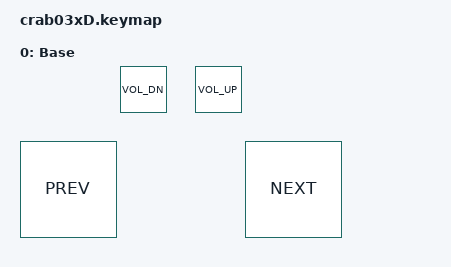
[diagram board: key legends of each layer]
#include <behaviors.dtsi>
#include <dt-bindings/zmk/keys.h>
#include <dt-bindings/zmk/bt.h>
#include <dt-bindings/zmk/behaviors.h>

/ {  
    combos {
        compatible = "zmk,combos";
        
        combo_BT {
            timeout-ms = <50>;
            key-positions = <0 1 2 3>;
            bindings = <&bt BT_CLR>;
        };
        
        combo_rewind {
            timeout-ms = <50>;
            key-positions = <0 1>;
            bindings = <&kp C_RW>;
        };
        
        combo_pause_play {
            timeout-ms = <50>;
            key-positions = <1 2>;
            bindings = <&kp C_PP>;
        };
        
        combo_fast_forward {
            timeout-ms = <50>;
            key-positions = <2 3>;
            bindings = <&kp C_FF>;
        };
        
        combo_unlock {
            timeout-ms = <50>;
            key-positions = <1 2 3>;
            bindings = <&studio_unlock>;
        };
        
    };

    keymap {
        compatible = "zmk,keymap";
        
        default_layer { // Layer 0
            display-name = "Base";
            bindings = <
                &kp C_PREV    &kp C_VOL_DN    &kp C_VOL_UP    &kp C_NEXT
                //&kp N1    &kp N2    &kp N3    &kp N4        
            >;
        };
        
        extra_1 {
            status = "reserved";
        }; 
    };
 };
